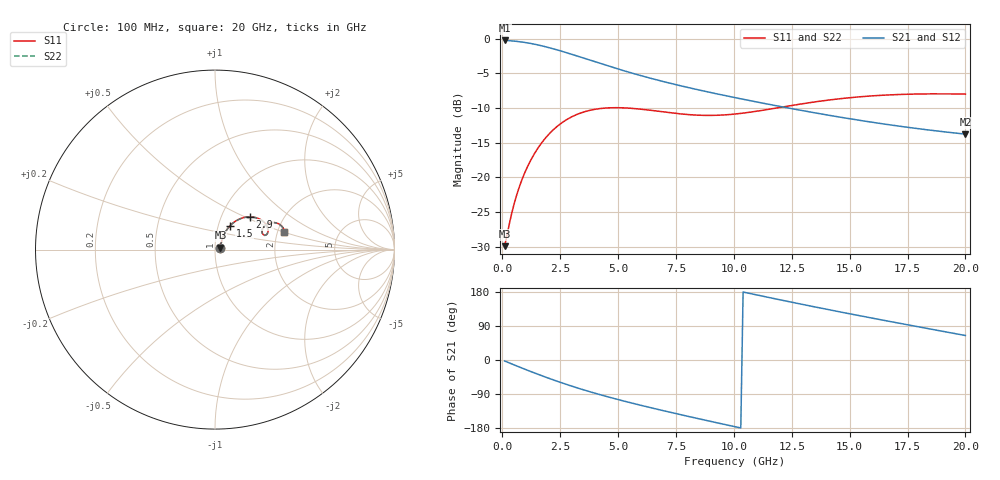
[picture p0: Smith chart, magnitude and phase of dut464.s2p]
! Touchstone file exported from HFSS 2024.1.0
!  File:  C:/UserFiles/LocalFiles/RDL_TSV_Batchsim/temp_RDL_TSV_464_1779728438.aedt
!  Generated:  01:17:44 AM May 26, 2026
!  Design:  RDL_TSV
!  Project:  temp_RDL_TSV_464_1779728438
!  Setup:  Setup1
!  Solution:  Sweep
! Variables:
!  dtsv = 7.71um
!  hbump = 3um
!  htsv = 90.98um
!  ldown = 602.8um
!  lrdl = 625.19um
!  p = 40
!  p1 = 59.07um
!  rhole = 10um
!  subl = 4309.16um
!  t = 450um
!  tdown = 2.7um
!  trdl = 4.08um
!  viad = 10um
!  wdown = 12.37um
!  wrdl = 20.94um
!  xbump = 18um
# GHz S MA R 50.000000
! Terminal data exported
! Port[1] = TM1_1_T1
! Port[2] = TM1_4_T1
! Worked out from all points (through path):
!   200 points, 100 MHz to 20 GHz, reference 50 ohm
!   highest |S21| = -0.27 dB at 100 MHz (marker M1); lowest = -13.8 dB at 20 GHz (marker M2)
!   group delay of S21, straight-line fit = 38.8 ps
!   lowest |S11| = -29.9 dB at 100 MHz (marker M3), VSWR 1.07, Z = 53.1 + j1.16 ohm
!   |S11| at or under -10 dB: start of sweep to 4.49 GHz; 5.363 GHz to 11.85 GHz (6.486 GHz wide, 75.4 % of centre)
!   |S22| runs from -29.9 to -8.0 dB; largest |S21 - S12| = 1e-14
!   S11 on the Smith chart (normalised r, x): 100 MHz: 1.06, +0.02; 1.5 GHz: 1.14, +0.31; 2.9 GHz: 1.36, +0.54; 20 GHz: 2.18, +0.50
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0.1  0.03192 20.0  0.9699 -2.6  0.9699 -2.6  0.03192 20.0
! Gamma 0 0 0 0
! Port Impedance 50 0 50 0
0.4  0.05443 49.1  0.9633 -10.2  0.9633 -10.2  0.05444 49.0
0.7  0.08197 57.2  0.9522 -17.6  0.9522 -17.6  0.08198 57.1
1.1  0.1204 59.4  0.9309 -27.3  0.9309 -27.3  0.1204 59.3
1.5  0.1587 57.7  0.9033 -36.8  0.9033 -36.8  0.1586 57.6
1.8  0.1862 55.2  0.8794 -43.6  0.8794 -43.6  0.186 55.1
2.2  0.22 51.1  0.8447 -52.5  0.8447 -52.5  0.2197 51.0
2.9  0.2677 43.1  0.78 -67.0  0.78 -67.0  0.2671 42.9
3.5  0.2953 36.3  0.7248 -78.6  0.7248 -78.6  0.2944 36.1
4.2  0.3129 29.4  0.6647 -91.1  0.6647 -91.1  0.3117 29.2
5  0.3178 23.1  0.604 -104.4  0.604 -104.4  0.3164 22.9
5.9  0.3111 18.4  0.546 -118.3  0.546 -118.3  0.3094 18.2
6.8  0.2986 16.2  0.4978 -131.5  0.4978 -131.5  0.2968 16.1
7.6  0.2878 16.2  0.4614 -142.8  0.4614 -142.8  0.2859 16.1
8.4  0.2809 17.7  0.4299 -153.9  0.4299 -153.9  0.279 17.7
10.1  0.2866 22.9  0.3741 -176.7  0.3741 -176.7  0.2848 22.9
11.8  0.3152 26.0  0.329 161.3  0.329 161.3  0.3136 26.1
13.4  0.3479 25.6  0.2938 141.3  0.2938 141.3  0.3464 25.7
15  0.3751 23.2  0.2646 122.0  0.2646 122.0  0.3736 23.3
16.7  0.3929 19.8  0.2395 102.1  0.2395 102.1  0.3914 19.9
18.3  0.3995 16.7  0.2207 83.8  0.2207 83.8  0.398 16.8
20  0.3983 14.1  0.2049 64.6  0.2049 64.6  0.3968 14.2
